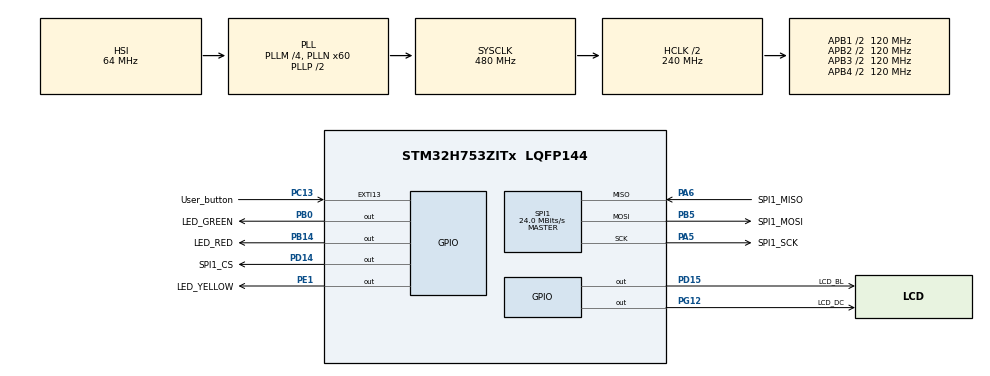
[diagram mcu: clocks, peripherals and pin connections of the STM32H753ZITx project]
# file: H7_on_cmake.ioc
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CORTEX_M7.CPU_DCache=Disabled
CORTEX_M7.CPU_ICache=Disabled
CORTEX_M7.MPU_Control=__NULL
CORTEX_M7.default_mode_Activation=1
Dma.Request0=SPI1_TX
Dma.SPI1_TX.0.Direction=DMA_MEMORY_TO_PERIPH
Dma.SPI1_TX.0.EventEnable=DISABLE
Dma.SPI1_TX.0.FIFOMode=DMA_FIFOMODE_DISABLE
Dma.SPI1_TX.0.Instance=DMA1_Stream0
Dma.SPI1_TX.0.MemDataAlignment=DMA_MDATAALIGN_HALFWORD
Dma.SPI1_TX.0.MemInc=DMA_MINC_ENABLE
Dma.SPI1_TX.0.Mode=DMA_NORMAL
Dma.SPI1_TX.0.PeriphDataAlignment=DMA_PDATAALIGN_HALFWORD
Dma.SPI1_TX.0.PeriphInc=DMA_PINC_DISABLE
Dma.SPI1_TX.0.Polarity=HAL_DMAMUX_REQ_GEN_RISING
Dma.SPI1_TX.0.Priority=DMA_PRIORITY_HIGH
Dma.SPI1_TX.0.RequestNumber=1
Dma.SPI1_TX.0.SignalID=NONE
Dma.SPI1_TX.0.SyncEnable=DISABLE
Dma.SPI1_TX.0.SyncPolarity=HAL_DMAMUX_SYNC_NO_EVENT
Dma.SPI1_TX.0.SyncRequestNumber=1
Dma.SPI1_TX.0.SyncSignalID=NONE
FREERTOS.Tasks01=defaultTask,24,256,StartDefaultTask,Default,NULL,Dynamic,NULL,NULL
FREERTOS.configCHECK_FOR_STACK_OVERFLOW=2
FREERTOS.configUSE_MALLOC_FAILED_HOOK=1
FREERTOS.configUSE_NEWLIB_REENTRANT=1
Mcu.Family=STM32H7
Mcu.Name=STM32H753ZITx
Mcu.Package=LQFP144
NUCLEO-H753ZI.BUTTON=0
NUCLEO-H753ZI.LD1=false
NUCLEO-H753ZI.LD2=false
NUCLEO-H753ZI.LD3=false
NUCLEO-H753ZI.VCP=true
NVIC.DMA1_Stream0_IRQn=true\:5\:0\:false\:false\:true\:true\:false\:true\:true
NVIC.EXTI15_10_IRQn=true\:5\:0\:false\:false\:true\:true\:false\:true\:true
NVIC.PriorityGroup=NVIC_PRIORITYGROUP_4
NVIC.SPI1_IRQn=true\:5\:0\:false\:false\:true\:true\:false\:true\:true
NVIC.TIM8_TRG_COM_TIM14_IRQn=true\:15\:0\:false\:false\:true\:false\:false\:true\:true
NVIC.TimeBase=TIM8_TRG_COM_TIM14_IRQn
NVIC.TimeBaseIP=TIM14
PA5.GPIO_Label=SPI1_SCK
PA5.GPIO_PuPd=GPIO_PULLUP
PA5.GPIO_Speed=GPIO_SPEED_FREQ_VERY_HIGH
PA5.Mode=Full_Duplex_Master
PA5.Signal=SPI1_SCK
PA6.GPIO_Label=SPI1_MISO
PA6.GPIO_PuPd=GPIO_PULLUP
PA6.GPIO_Speed=GPIO_SPEED_FREQ_VERY_HIGH
PA6.Mode=Full_Duplex_Master
PA6.Signal=SPI1_MISO
PB0.GPIO_Label=LED_GREEN
PB0.Signal=GPIO_Output
PB14.GPIO_Label=LED_RED
PB14.Signal=GPIO_Output
PB5.GPIO_Label=SPI1_MOSI
PB5.GPIO_PuPd=GPIO_PULLUP
PB5.GPIO_Speed=GPIO_SPEED_FREQ_VERY_HIGH
PB5.Mode=Full_Duplex_Master
PB5.Signal=SPI1_MOSI
PC13.GPIO_Label=User_button
PC13.GPIO_PuPd=GPIO_PULLUP
PC13.Signal=GPXTI13
PC14-OSC32_IN\ (OSC32_IN).Signal=RCC_OSC32_IN
PC15-OSC32_OUT\ (OSC32_OUT).Signal=RCC_OSC32_OUT
PD14.GPIO_Label=SPI1_CS
PD14.PinState=GPIO_PIN_SET
PD14.Signal=GPIO_Output
PD15.GPIO_Label=LCD_BL
PD15.Signal=GPIO_Output
PE1.GPIO_Label=LED_YELLOW
PE1.Signal=GPIO_Output
PG12.GPIO_Label=LCD_DC
PG12.PinState=GPIO_PIN_SET
PG12.Signal=GPIO_Output
PH0-OSC_IN\ (PH0).Signal=RCC_OSC_IN
PH1-OSC_OUT\ (PH1).Signal=RCC_OSC_OUT
ProjectManager.HeapSize=0x200
ProjectManager.StackSize=0x400
ProjectManager.TargetToolchain=CMake
RCC.ADCFreq_Value=129000000
RCC.APB1Freq_Value=120000000
RCC.APB2Freq_Value=120000000
RCC.APB3Freq_Value=120000000
RCC.APB4Freq_Value=120000000
RCC.CortexFreq_Value=480000000
RCC.D1PPRE=RCC_APB3_DIV2
RCC.D2PPRE1=RCC_APB1_DIV2
RCC.D2PPRE2=RCC_APB2_DIV2
RCC.D3PPRE=RCC_APB4_DIV2
RCC.DIVM1=4
RCC.DIVN1=60
RCC.DIVQ1=5
RCC.HCLKFreq_Value=240000000
RCC.HPRE=RCC_HCLK_DIV2
RCC.HSE_VALUE=8000000
RCC.PLL2FRACN=0
RCC.PLL3FRACN=0
RCC.PLLFRACN=0
RCC.PWR_Regulator_Voltage_Scale=PWR_REGULATOR_VOLTAGE_SCALE0
RCC.SYSCLKFreq_VALUE=480000000
RCC.SYSCLKSource=RCC_SYSCLKSOURCE_PLLCLK
RCC.USBFreq_Value=192000000
SPI1.BaudRatePrescaler=SPI_BAUDRATEPRESCALER_8
SPI1.CalculateBaudRate=24.0 MBits/s
SPI1.DataSize=SPI_DATASIZE_8BIT
SPI1.Direction=SPI_DIRECTION_2LINES
SPI1.Mode=SPI_MODE_MASTER
SPI1.VirtualType=VM_MASTER
VP_FREERTOS_VS_CMSIS_V2.Mode=CMSIS_V2
VP_MEMORYMAP_VS_MEMORYMAP.Mode=CurAppReg
VP_NUCLEO-H753ZI_VS_BSP_COMMON.Mode=COMMON
VP_SYS_VS_tim14.Mode=TIM14
board=NUCLEO-H753ZI

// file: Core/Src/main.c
/* USER CODE BEGIN Header */
/**
  ******************************************************************************
  * @file           : main.c
  * @brief          : Main program body
  ******************************************************************************
  * @attention
  *
  * Copyright (c) 2025 STMicroelectronics.
  * All rights reserved.
  *
  * This software is licensed under terms that can be found in the LICENSE file
  * in the root directory of this software component.
  * If no LICENSE file comes with this software, it is provided AS-IS.
  *
  ******************************************************************************
  */
/* USER CODE END Header */
#include "main.h"
#include "cmsis_os.h"
#include "dma.h"
#include "memorymap.h"
#include "spi.h"
#include "gpio.h"

COM_InitTypeDef BspCOMInit;

void SystemClock_Config(void);
void MX_FREERTOS_Init(void);

/* USER CODE BEGIN 0 */

  extern DMA_HandleTypeDef hdma_spi1_tx;
  extern void HAL_DMA_TxCpltCallback(DMA_HandleTypeDef *hdma);
/* USER CODE END 0 */

int main(void)
{

  /* MCU Configuration--------------------------------------------------------*/

  /* Reset of all peripherals, Initializes the Flash interface and the Systick. */
  HAL_Init();

  /* Configure the system clock */
  SystemClock_Config();

  /* Initialize all configured peripherals */
  MX_GPIO_Init();
  MX_DMA_Init();
  MX_SPI1_Init();
  /* USER CODE BEGIN 2 */

  // HAL_DMA_RegisterCallback(&hdma_spi1_tx, HAL_DMA_XFER_CPLT_CB_ID, HAL_DMA_TxCpltCallback);

  /* USER CODE END 2 */

  /* Init scheduler */
  osKernelInitialize();

  /* Call init function for freertos objects (in cmsis_os2.c) */
  MX_FREERTOS_Init();

  /* Initialize COM1 port (115200, 8 bits (7-bit data + 1 stop bit), no parity */
  BspCOMInit.BaudRate   = 115200;
  BspCOMInit.WordLength = COM_WORDLENGTH_8B;
  BspCOMInit.StopBits   = COM_STOPBITS_1;
  BspCOMInit.Parity     = COM_PARITY_NONE;
  BspCOMInit.HwFlowCtl  = COM_HWCONTROL_NONE;
  if (BSP_COM_Init(COM1, &BspCOMInit) != BSP_ERROR_NONE)
  {
    Error_Handler();
  }

  /* Start scheduler */
  osKernelStart();

  /* We should never get here as control is now taken by the scheduler */

  /* Infinite loop */
  while (1)
  {

  }
}

void SystemClock_Config(void)
{
  RCC_OscInitTypeDef RCC_OscInitStruct = {0};
  RCC_ClkInitTypeDef RCC_ClkInitStruct = {0};

  /** Supply configuration update enable
  */
  HAL_PWREx_ConfigSupply(PWR_LDO_SUPPLY);

  /** Configure the main internal regulator output voltage
  */
  __HAL_PWR_VOLTAGESCALING_CONFIG(PWR_REGULATOR_VOLTAGE_SCALE0);

  while(!__HAL_PWR_GET_FLAG(PWR_FLAG_VOSRDY)) {}

  /** Initializes the RCC Oscillators according to the specified parameters
  * in the RCC_OscInitTypeDef structure.
  */
  RCC_OscInitStruct.OscillatorType = RCC_OSCILLATORTYPE_HSI;
  RCC_OscInitStruct.HSIState = RCC_HSI_DIV1;
  RCC_OscInitStruct.HSICalibrationValue = RCC_HSICALIBRATION_DEFAULT;
  RCC_OscInitStruct.PLL.PLLState = RCC_PLL_ON;
  RCC_OscInitStruct.PLL.PLLSource = RCC_PLLSOURCE_HSI;
  RCC_OscInitStruct.PLL.PLLM = 4;
  RCC_OscInitStruct.PLL.PLLN = 60;
  RCC_OscInitStruct.PLL.PLLP = 2;
  RCC_OscInitStruct.PLL.PLLQ = 5;
  RCC_OscInitStruct.PLL.PLLR = 2;
  RCC_OscInitStruct.PLL.PLLRGE = RCC_PLL1VCIRANGE_3;
  RCC_OscInitStruct.PLL.PLLVCOSEL = RCC_PLL1VCOWIDE;
  RCC_OscInitStruct.PLL.PLLFRACN = 0;
  if (HAL_RCC_OscConfig(&RCC_OscInitStruct) != HAL_OK)
  {
    Error_Handler();
  }

  /** Initializes the CPU, AHB and APB buses clocks
  */
  RCC_ClkInitStruct.ClockType = RCC_CLOCKTYPE_HCLK|RCC_CLOCKTYPE_SYSCLK
                              |RCC_CLOCKTYPE_PCLK1|RCC_CLOCKTYPE_PCLK2
                              |RCC_CLOCKTYPE_D3PCLK1|RCC_CLOCKTYPE_D1PCLK1;
  RCC_ClkInitStruct.SYSCLKSource = RCC_SYSCLKSOURCE_PLLCLK;
  RCC_ClkInitStruct.SYSCLKDivider = RCC_SYSCLK_DIV1;
  RCC_ClkInitStruct.AHBCLKDivider = RCC_HCLK_DIV2;
  RCC_ClkInitStruct.APB3CLKDivider = RCC_APB3_DIV2;
  RCC_ClkInitStruct.APB1CLKDivider = RCC_APB1_DIV2;
  RCC_ClkInitStruct.APB2CLKDivider = RCC_APB2_DIV2;
  RCC_ClkInitStruct.APB4CLKDivider = RCC_APB4_DIV2;

  if (HAL_RCC_ClockConfig(&RCC_ClkInitStruct, FLASH_LATENCY_4) != HAL_OK)
  {
    Error_Handler();
  }
}

void HAL_TIM_PeriodElapsedCallback(TIM_HandleTypeDef *htim)
{
  if (htim->Instance == TIM14)
  {
    HAL_IncTick();
  }
}

void Error_Handler(void)
{
  __disable_irq();
  while (1)
  {
  }
}

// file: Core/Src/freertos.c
/* USER CODE BEGIN Header */
/**
  ******************************************************************************
  * File Name          : freertos.c
  * Description        : Code for freertos applications
  ******************************************************************************
  * @attention
  *
  * Copyright (c) 2025 STMicroelectronics.
  * All rights reserved.
  *
  * This software is licensed under terms that can be found in the LICENSE file
  * in the root directory of this software component.
  * If no LICENSE file comes with this software, it is provided AS-IS.
  *
  ******************************************************************************
  */
/* USER CODE END Header */

#include "FreeRTOS.h"
#include "task.h"
#include "main.h"
#include "cmsis_os.h"

/* USER CODE BEGIN Variables */

osThreadId_t lcdTaskHandle;
const osThreadAttr_t lcdTask_attributes = {
  .name = "lcdTask",
  .stack_size = 2048,
  .priority = (osPriority_t) osPriorityNormal,
};

/* USER CODE END Variables */
/* Definitions for defaultTask */
osThreadId_t defaultTaskHandle;
const osThreadAttr_t defaultTask_attributes = {
  .name = "defaultTask",
  .stack_size = 256 * 4,
  .priority = (osPriority_t) osPriorityNormal,
};

/* USER CODE BEGIN FunctionPrototypes */

void StartLCDTask(void *argument);

/* USER CODE END FunctionPrototypes */

void StartDefaultTask(void *argument);

void MX_FREERTOS_Init(void); /* (MISRA C 2004 rule 8.1) */

/* Hook prototypes */
void vApplicationStackOverflowHook(xTaskHandle xTask, signed char *pcTaskName);
void vApplicationMallocFailedHook(void);

/* USER CODE BEGIN 4 */
void vApplicationStackOverflowHook(xTaskHandle xTask, signed char *pcTaskName)
{
  __disable_irq();
  while(1);
}
/* USER CODE END 4 */

/* USER CODE BEGIN 5 */
void vApplicationMallocFailedHook(void)
{
  __disable_irq();
  while(1);
}
/* USER CODE END 5 */

void MX_FREERTOS_Init(void) {

  /* Create the thread(s) */
  /* creation of defaultTask */
  defaultTaskHandle = osThreadNew(StartDefaultTask, NULL, &defaultTask_attributes);

}

void StartDefaultTask(void *argument)
{
  /* USER CODE BEGIN StartDefaultTask */

  lcdTaskHandle = osThreadNew(StartLCDTask, NULL, &lcdTask_attributes);

  /* Infinite loop */
  for(;;)
  {
    HAL_GPIO_TogglePin(LED_GREEN_GPIO_Port, LED_GREEN_Pin);
    osDelay(200);
    HAL_GPIO_TogglePin(LED_YELLOW_GPIO_Port, LED_YELLOW_Pin);
    osDelay(200);
    HAL_GPIO_TogglePin(LED_RED_GPIO_Port, LED_RED_Pin);
    osDelay(200);
  }
  /* USER CODE END StartDefaultTask */
}

/* USER CODE BEGIN Application */

#include "LCD.h"
#include "ST7789.h"

ST7789_IO_t st7789_hal_io = {
    .set_cs = ST7789_HAL_set_cs,
    .set_dc = ST7789_HAL_set_dc,
    .set_bl = ST7789_HAL_set_bl,
    .spi_transmit = ST7789_HAL_spi_transmit,
    .spi_transmit_dma = NULL,
    .spi_transmit_receive = ST7789_HAL_spi_transmit_receive,
    .delay_ms = ST7789_HAL_delay_ms
};

void StartLCDTask(void *argument)
{
  /* USER CODE BEGIN StartDefaultTask */

  if(0 == ST7789_init(&st7789_hal_io)) {
    ST7789_draw_circle(30, 30, 10, WHITE, true);
  }

  /* Infinite loop */
  for(;;)
  {
    osDelay(1000);

    ST7789_clear();
    ST7789_draw_line(180, 0, 180+30, DISPLAY_H, WHITE, false);
    ST7789_draw_line(220, 0, 220+30, DISPLAY_H, WHITE, false);
    ST7789_draw_line(260, 0, 260+30, DISPLAY_H, WHITE, false);
    ST7789_draw_circle(100, 100, 10, WHITE, false);
    ST7789_draw_circle(100, 100, 20, RED, false);
    ST7789_draw_circle(100, 100, 30, GREEN, false);
    ST7789_draw_circle(100, 100, 40, BLUE, false);
    ST7789_draw_circle(100, 100, 50, YELLOW, false);
    ST7789_draw_circle(100, 100, 60, MAGENTA, false);
    ST7789_draw_circle(100, 100, 70, CYAN, false);
    ST7789_fill_box(40, 200, 30, 30, WHITE, false);
    ST7789_fill_box(70, 200, 30, 30, RED, false);
    ST7789_fill_box(100, 200, 30, 30, GREEN, false);
    ST7789_fill_box(130, 200, 30, 30, BLUE, false);
    ST7789_flush_to_display();

    osDelay(1000);

    ST7789_clear();
    ST7789_write_string(20, 30, "DUPECZEK", Font_16x26, WHITE, BLACK);
    ST7789_write_string(60, 60, "DUPECZEK", Font_16x26, RED, BLACK);
    ST7789_write_string(100, 90, "DUPECZEK", Font_16x26, GREEN, BLACK);
    ST7789_write_string(140, 120, "DUPECZEK", Font_16x26, BLUE, BLACK);
  }
  /* USER CODE END StartDefaultTask */
}
/* USER CODE END Application */
